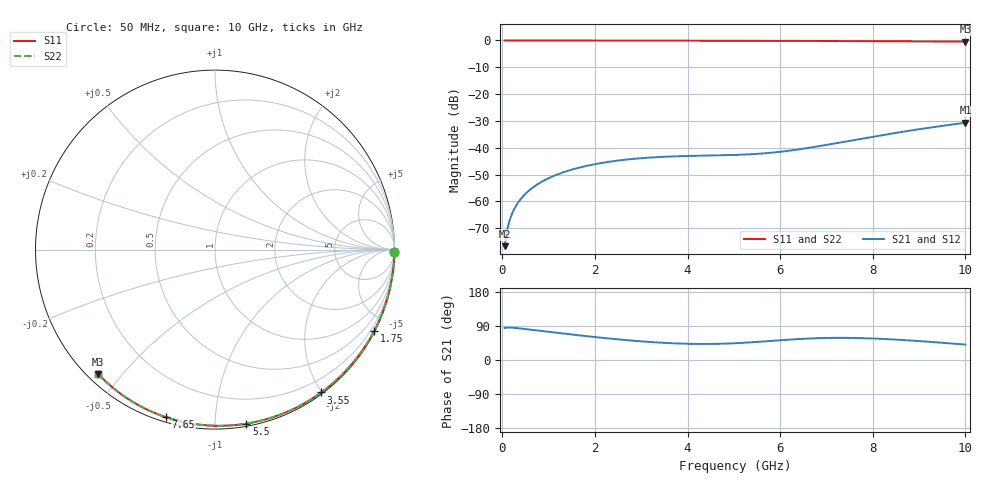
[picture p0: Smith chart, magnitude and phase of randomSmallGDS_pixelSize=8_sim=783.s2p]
! freq	dB(S11)	phase(S11)	dB(S12)	phase(S12)
!  dB(S21)	phase(S21)	dB(S22)	phase(S22)
!S-par simulation data
#  GHz  S  DB  R 50
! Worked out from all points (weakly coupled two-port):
!   200 points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, 50 MHz to 10 GHz, reference 50 ohm
!   highest |S21| = -30.68 dB at 10 GHz (marker M1); lowest = -76.7 dB at 50 MHz (marker M2)
!   lowest |S11| = -0.4 dB at 10 GHz (marker M3), VSWR 39.32, Z = 1.51 - j21.6 ohm
!   |S11| at or under -10 dB: nowhere
!   |S22| runs from -0.4 to 0.0 dB; largest |S21 - S12| = 0
!   S11 on the Smith chart (normalised r, x): 50 MHz: open; 1.75 GHz: 0.04, -4.17; 3.55 GHz: 0.02, -1.99; 5.5 GHz: 0.02, -1.20; 7.65 GHz: 0.02, -0.75; 10 GHz: 0.03, -0.43
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0.05  -0.00 -0.8  -76.70 84.6  -76.70 84.6  -0.00 -0.8
0.1  -0.00 -1.6  -70.97 85.5  -70.97 85.5  -0.00 -1.6
0.15  -0.00 -2.4  -67.52 85.6  -67.52 85.6  -0.00 -2.4
0.2  -0.00 -3.1  -65.06 85.4  -65.06 85.4  -0.00 -3.1
0.25  -0.00 -3.9  -63.14 84.9  -63.14 84.9  -0.00 -3.9
0.35  -0.00 -5.5  -60.24 83.7  -60.24 83.7  -0.00 -5.5
0.5  -0.01 -7.8  -57.18 81.7  -57.18 81.7  -0.01 -7.8
0.7  -0.01 -10.9  -54.33 78.8  -54.33 78.8  -0.01 -10.9
1  -0.02 -15.5  -51.36 74.5  -51.36 74.5  -0.02 -15.5
1.35  -0.03 -20.9  -48.97 69.4  -48.97 69.4  -0.03 -20.9
1.75  -0.03 -27.0  -47.04 63.9  -47.04 63.9  -0.03 -27.0
2.5  -0.05 -38.1  -44.77 54.4  -44.77 54.4  -0.05 -38.2
3.4  -0.07 -51.2  -43.45 45.9  -43.45 45.9  -0.07 -51.2
3.55  -0.07 -53.3  -43.33 44.9  -43.33 44.9  -0.07 -53.3
4.3  -0.09 -63.8  -42.96 42.3  -42.96 42.3  -0.09 -63.8
5.05  -0.11 -73.9  -42.67 44.4  -42.67 44.4  -0.11 -73.9
5.5  -0.13 -79.8  -42.29 47.7  -42.29 47.7  -0.13 -79.8
6.05  -0.15 -86.8  -41.41 52.6  -41.41 52.6  -0.15 -86.8
6.7  -0.18 -94.9  -39.82 57.1  -39.82 57.1  -0.18 -94.9
7.65  -0.24 -106.3  -36.95 58.0  -36.95 58.0  -0.24 -106.3
8.35  -0.29 -114.5  -34.87 54.8  -34.87 54.8  -0.29 -114.5
10  -0.44 -133.1  -30.68 40.7  -30.68 40.7  -0.44 -133.2
